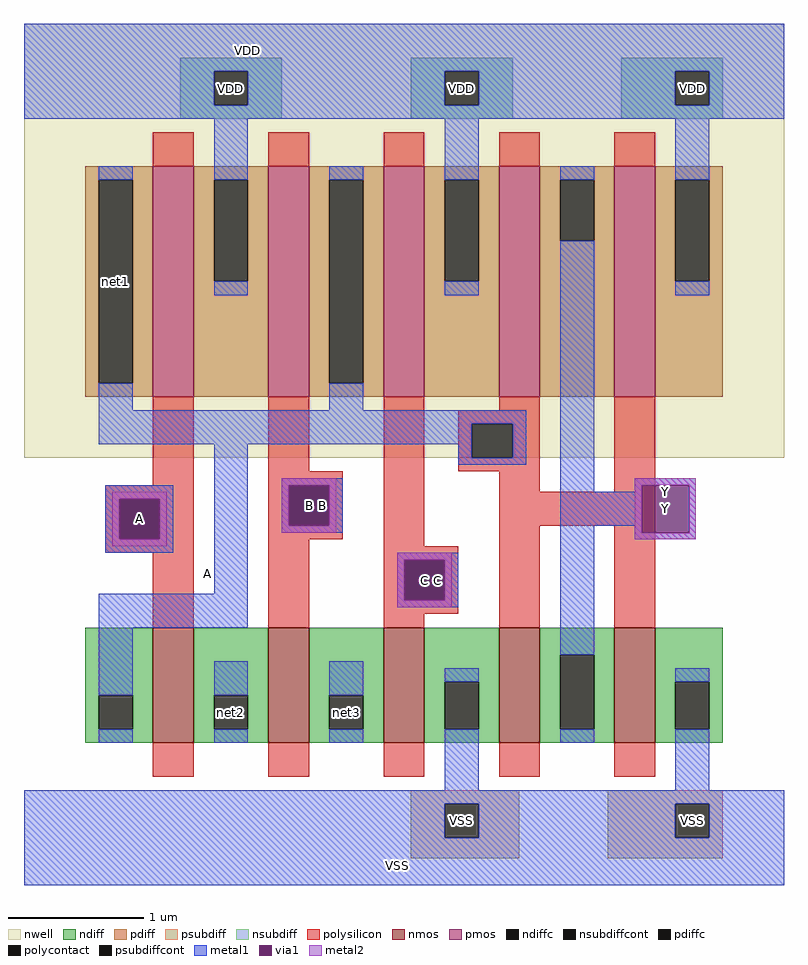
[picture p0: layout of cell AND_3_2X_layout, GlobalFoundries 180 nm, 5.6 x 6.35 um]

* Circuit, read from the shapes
.subckt AND_3_2X_layout A B C VDD VSS Y net1 net2 net3
XM1 net2 A net1 VSS nfet_03v3 w=0.85u l=0.3u
XM2 net3 B net2 VSS nfet_03v3 w=0.85u l=0.3u
XM3 VSS C net3 VSS nfet_03v3 w=0.85u l=0.3u
XM4 Y net1 VSS VSS nfet_03v3 w=0.85u l=0.3u m=2
XM5 VDD A net1 VDD pfet_03v3 w=1.7u l=0.3u
XM6 net1 B VDD VDD pfet_03v3 w=1.7u l=0.3u
XM7 VDD C net1 VDD pfet_03v3 w=1.7u l=0.3u
XM8 Y net1 VDD VDD pfet_03v3 w=1.7u l=0.3u m=2
.ends

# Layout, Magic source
magic
tech gf180mcuD
<< nwell >>
rect -17 63 95 127
<< nmos >>
rect 2 21 8 38
rect 19 21 25 38
rect 36 21 42 38
rect 53 21 59 38
rect 70 21 76 38
<< pmos >>
rect 2 72 8 106
rect 19 72 25 106
rect 36 72 42 106
rect 53 72 59 106
rect 70 72 76 106
<< ndiff >>
rect -8 28 2 38
rect -8 23 -6 28
rect -1 23 2 28
rect -8 21 2 23
rect 8 28 19 38
rect 8 23 11 28
rect 16 23 19 28
rect 8 21 19 23
rect 25 28 36 38
rect 25 23 28 28
rect 33 23 36 28
rect 25 21 36 23
rect 42 30 53 38
rect 42 23 45 30
rect 50 23 53 30
rect 42 21 53 23
rect 59 34 70 38
rect 59 23 62 34
rect 67 23 70 34
rect 59 21 70 23
rect 76 30 86 38
rect 76 23 79 30
rect 84 23 86 30
rect 76 21 86 23
<< pdiff >>
rect -8 104 2 106
rect -8 74 -6 104
rect -1 74 2 104
rect -8 72 2 74
rect 8 104 19 106
rect 8 89 11 104
rect 16 89 19 104
rect 8 72 19 89
rect 25 104 36 106
rect 25 74 28 104
rect 33 74 36 104
rect 25 72 36 74
rect 42 104 53 106
rect 42 89 45 104
rect 50 89 53 104
rect 42 72 53 89
rect 59 104 70 106
rect 59 95 62 104
rect 67 95 70 104
rect 59 72 70 95
rect 76 104 86 106
rect 76 89 79 104
rect 84 89 86 104
rect 76 72 86 89
<< ndiffc >>
rect -6 23 -1 28
rect 11 23 16 28
rect 28 23 33 28
rect 45 23 50 30
rect 62 23 67 34
rect 79 23 84 30
<< pdiffc >>
rect -6 74 -1 104
rect 11 89 16 104
rect 28 74 33 104
rect 45 89 50 104
rect 62 95 67 104
rect 79 89 84 104
<< psubdiff >>
rect 40 12 56 14
rect 40 7 45 12
rect 50 7 56 12
rect 40 4 56 7
rect 69 12 86 14
rect 69 7 79 12
rect 84 7 86 12
rect 69 4 86 7
<< nsubdiff >>
rect 6 120 21 122
rect 6 115 11 120
rect 16 115 21 120
rect 6 113 21 115
rect 40 120 55 122
rect 40 115 45 120
rect 50 115 55 120
rect 40 113 55 115
rect 71 120 86 122
rect 71 115 79 120
rect 84 115 86 120
rect 71 113 86 115
<< psubdiffcont >>
rect 45 7 50 12
rect 79 7 84 12
<< nsubdiffcont >>
rect 11 115 16 120
rect 45 115 50 120
rect 79 115 84 120
<< polysilicon >>
rect 2 106 8 111
rect 19 106 25 111
rect 36 106 42 111
rect 53 106 59 111
rect 70 106 76 111
rect 2 59 8 72
rect -5 57 8 59
rect -5 51 -3 57
rect 3 51 8 57
rect -5 49 8 51
rect 2 38 8 49
rect 19 61 25 72
rect 19 59 30 61
rect 19 53 22 59
rect 28 53 30 59
rect 19 51 30 53
rect 19 38 25 51
rect 36 50 42 72
rect 53 70 59 72
rect 47 68 59 70
rect 47 63 49 68
rect 55 63 59 68
rect 47 61 59 63
rect 53 58 59 61
rect 70 58 76 72
rect 53 53 76 58
rect 36 48 47 50
rect 36 42 39 48
rect 45 42 47 48
rect 36 40 47 42
rect 36 38 42 40
rect 53 38 59 53
rect 70 38 76 53
rect 2 16 8 21
rect 19 16 25 21
rect 36 16 42 21
rect 53 16 59 21
rect 70 16 76 21
<< polycontact >>
rect -3 51 3 57
rect 22 53 28 59
rect 49 63 55 68
rect 39 42 45 48
<< metal1 >>
rect -17 120 95 127
rect -17 115 11 120
rect 16 115 45 120
rect 50 115 79 120
rect 84 115 95 120
rect -17 113 95 115
rect -6 104 -1 106
rect 11 104 16 113
rect 11 87 16 89
rect 28 104 33 106
rect -6 70 -1 74
rect 45 104 50 113
rect 45 87 50 89
rect 62 104 67 106
rect 28 70 33 74
rect -6 68 57 70
rect -6 65 49 68
rect -5 57 5 59
rect -5 51 -3 57
rect 3 51 5 57
rect -5 49 5 51
rect 11 43 16 65
rect 47 63 49 65
rect 55 63 57 68
rect 47 62 57 63
rect 21 59 30 60
rect 21 53 22 59
rect 28 53 30 59
rect 21 52 30 53
rect 62 58 67 95
rect 79 104 84 113
rect 79 87 84 89
rect 73 59 82 60
rect 73 58 74 59
rect 62 53 74 58
rect -6 38 16 43
rect 38 48 47 49
rect 38 42 39 48
rect 45 42 47 48
rect 38 41 47 42
rect -6 28 -1 38
rect 62 34 67 53
rect 73 52 74 53
rect 81 52 82 59
rect 73 51 82 52
rect -6 21 -1 23
rect 11 28 16 33
rect 11 21 16 23
rect 28 28 33 33
rect 28 21 33 23
rect 45 30 50 32
rect 45 14 50 23
rect 62 21 67 23
rect 79 30 84 32
rect 79 14 84 23
rect -17 12 95 14
rect -17 7 45 12
rect 50 7 79 12
rect 84 7 95 12
rect -17 0 95 7
<< via1 >>
rect -3 51 3 57
rect 22 53 28 59
rect 39 42 45 48
rect 74 52 81 59
<< metal2 >>
rect 21 59 29 60
rect -4 57 4 58
rect -4 51 -3 57
rect 3 51 4 57
rect 21 53 22 59
rect 28 53 29 59
rect 21 52 29 53
rect 73 59 82 60
rect 73 52 74 59
rect 81 52 82 59
rect 73 51 82 52
rect -4 50 4 51
rect 38 48 46 49
rect 38 42 39 48
rect 45 42 46 48
rect 38 41 46 42
<< labels >>
flabel space 10 41 10 51 7 FreeSans 32 0 0 0 A
flabel metal1 8 123 24 123 5 FreeSans 32 0 0 0 VDD
flabel metal1 30 3 46 3 1 FreeSans 32 0 0 0 VSS
rlabel nsubdiffcont 45 115 50 120 1 VDD
rlabel nsubdiffcont 79 115 84 120 1 VDD
rlabel nsubdiffcont 11 115 16 120 1 VDD
rlabel psubdiffcont 79 7 84 12 1 VSS
rlabel psubdiffcont 45 7 50 12 1 VSS
rlabel pdiffc -6 74 -1 104 1 net1
rlabel metal2 39 42 45 48 1 C
flabel metal2 44 42 44 48 7 FreeSans 32 0 0 0 C
rlabel ndiffc 28 23 33 28 1 net3
rlabel ndiffc 11 23 16 28 1 net2
rlabel metal2 -3 51 3 57 1 A
rlabel metal2 22 53 28 59 1 B
flabel metal2 27 53 27 59 7 FreeSans 32 0 0 0 B
rlabel via1 74 52 81 59 1 Y
flabel via1 75 58 80 58 5 FreeSans 32 0 0 0 Y
<< end >>
